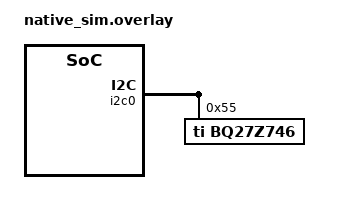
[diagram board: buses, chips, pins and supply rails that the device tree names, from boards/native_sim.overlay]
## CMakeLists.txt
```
# SPDX-License-Identifier: Apache-2.0

cmake_minimum_required(VERSION 3.28.0)
find_package(Zephyr REQUIRED HINTS $ENV{ZEPHYR_BASE})
project(device)

FILE(GLOB app_sources src/test_bq27z746.c)
target_sources(app PRIVATE ${app_sources})
```

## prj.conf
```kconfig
CONFIG_ZTEST=y
CONFIG_ZTEST_NEW_API=y
CONFIG_I2C=y
CONFIG_TEST_USERSPACE=y
CONFIG_LOG=y

CONFIG_FUEL_GAUGE=y
```

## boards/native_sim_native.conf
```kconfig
# SPDX-License-Identifier: Apache-2.0

CONFIG_EMUL=y
```

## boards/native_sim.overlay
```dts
/*
 * SPDX-License-Identifier: Apache-2.0
 */

&i2c0 {
	bq27z746: bq27z746@55 {
		compatible = "ti,bq27z746";
		reg = <0x55>;
		status = "okay";
	};
};
```

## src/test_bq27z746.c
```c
/*
 * Copyright (c) 2023, ithinx GmbH
 * Copyright (c) 2023, Tonies GmbH
 *
 * SPDX-License-Identifier: Apache-2.0
 */

#include <zephyr/device.h>
#include <zephyr/drivers/fuel_gauge.h>
#include <zephyr/drivers/i2c.h>
#include <zephyr/logging/log.h>
#include <zephyr/sys/byteorder.h>
#include <zephyr/sys/util.h>
#include <zephyr/ztest.h>
#include <zephyr/ztest_assert.h>

struct bq27z746_fixture {
	const struct device *dev;
	const struct fuel_gauge_driver_api *api;
};

static void *bq27z746_setup(void)
{
	static ZTEST_DMEM struct bq27z746_fixture fixture;

	fixture.dev = DEVICE_DT_GET_ANY(ti_bq27z746);
	k_object_access_all_grant(fixture.dev);

	zassert_true(device_is_ready(fixture.dev), "Fuel Gauge not found");

	return &fixture;
}

ZTEST_USER_F(bq27z746, test_get_some_props_failed_returns_bad_status)
{
	fuel_gauge_prop_t props[] = {
		/* First invalid property */
		FUEL_GAUGE_PROP_MAX,
		/* Second invalid property */
		FUEL_GAUGE_PROP_MAX,
		/* Valid property */
		FUEL_GAUGE_VOLTAGE_UV,
	};
	union fuel_gauge_prop_val vals[ARRAY_SIZE(props)];

	int ret = fuel_gauge_get_props(fixture->dev, props, vals, ARRAY_SIZE(props));

	zassert_equal(ret, -ENOTSUP, "Getting bad property has a good status.");
}

ZTEST_USER_F(bq27z746, test_get_buffer_prop)
{
	int ret;

	{
		struct sbs_gauge_manufacturer_name mfg_name;

		ret = fuel_gauge_get_buffer_prop(fixture->dev, FUEL_GAUGE_MANUFACTURER_NAME,
						 &mfg_name, sizeof(mfg_name));
		zassert_ok(ret);
#if CONFIG_EMUL
		/* Only test for fixed values in emulation since the real device might be */
		/* reprogrammed and respond with different values */
		zassert_equal(sizeof("Texas Instruments") - 1, mfg_name.manufacturer_name_length);
		zassert_mem_equal(mfg_name.manufacturer_name, "Texas Instruments",
				  mfg_name.manufacturer_name_length,
				  "mfg_name.manufacturer_name='%s'", mfg_name.manufacturer_name);
#endif
	}
	{
		struct sbs_gauge_device_name dev_name;

		ret = fuel_gauge_get_buffer_prop(fixture->dev, FUEL_GAUGE_DEVICE_NAME, &dev_name,
						 sizeof(dev_name));
		zassert_ok(ret);
#if CONFIG_EMUL
		/* Only test for fixed values in emulation since the real device might be */
		/* reprogrammed and respond with different values */
		zassert_equal(sizeof("BQ27Z746") - 1, dev_name.device_name_length);
		zassert_mem_equal(dev_name.device_name, "BQ27Z746", dev_name.device_name_length);
#endif
	}
	{
		struct sbs_gauge_device_chemistry device_chemistry;

		ret = fuel_gauge_get_buffer_prop(fixture->dev, FUEL_GAUGE_DEVICE_CHEMISTRY,
						 &device_chemistry, sizeof(device_chemistry));
		zassert_ok(ret);
#if CONFIG_EMUL
		/* Only test for fixed values in emulation since the real device might be */
		/* reprogrammed and respond with different values */
		zassert_equal(sizeof("LION") - 1, device_chemistry.device_chemistry_length);
		zassert_mem_equal(device_chemistry.device_chemistry, "LION",
				  device_chemistry.device_chemistry_length);
#endif
	}
}

ZTEST_USER_F(bq27z746, test_get_props__returns_ok)
{
	/* Validate what props are supported by the driver */

	fuel_gauge_prop_t props[] = {
		FUEL_GAUGE_AVG_CURRENT_UA,
		FUEL_GAUGE_CYCLE_COUNT,
		FUEL_GAUGE_CURRENT_UA,
		FUEL_GAUGE_FULL_CHARGE_CAPACITY,
		FUEL_GAUGE_REMAINING_CAPACITY,
		FUEL_GAUGE_RUNTIME_TO_EMPTY_MINS,
		FUEL_GAUGE_RUNTIME_TO_FULL_MINS,
		FUEL_GAUGE_SBS_MFR_ACCESS,
		FUEL_GAUGE_RELATIVE_STATE_OF_CHARGE_PCT,
		FUEL_GAUGE_TEMPERATURE_DK,
		FUEL_GAUGE_VOLTAGE_UV,
		FUEL_GAUGE_SBS_ATRATE,
		FUEL_GAUGE_SBS_ATRATE_TIME_TO_EMPTY_MINS,
		FUEL_GAUGE_CHARGE_VOLTAGE_UV,
		FUEL_GAUGE_CHARGE_CURRENT_UA,
		FUEL_GAUGE_STATUS,
		FUEL_GAUGE_DESIGN_CAPACITY,
		FUEL_GAUGE_STATE_OF_HEALTH,
	};
	union fuel_gauge_prop_val vals[ARRAY_SIZE(props)];

	zassert_ok(fuel_gauge_get_props(fixture->dev, props, vals, ARRAY_SIZE(props)));

	/* Check properties for valid ranges */
#if CONFIG_EMUL
	/* When emulating, check for the fixed values coming from the emulator */
	zassert_equal(vals[0].avg_current_ua, -2000);
	zassert_equal(vals[1].cycle_count, 1);
	zassert_equal(vals[2].current_ua, -2000);
	zassert_equal(vals[3].full_charge_capacity, 1000);
	zassert_equal(vals[4].remaining_capacity, 1000);
	zassert_equal(vals[5].runtime_to_empty_mins, 1);
	zassert_equal(vals[6].runtime_to_full_mins, 1);
	zassert_equal(vals[7].sbs_mfr_access_word, 1);
	zassert_equal(vals[8].relative_state_of_charge_pct, 1);
	zassert_equal(vals[9].temperature_dk, 1);
	zassert_equal(vals[10].voltage_uv, 1000);
	zassert_equal(vals[11].sbs_at_rate, -2);
	zassert_equal(vals[12].sbs_at_rate_time_to_empty_mins, 1);
	zassert_equal(vals[13].chg_voltage_uv, 1000);
	zassert_equal(vals[14].chg_current_ua, 1000);
	zassert_equal(vals[15].fg_status, 1);
	zassert_equal(vals[16].design_cap, 1);
	zassert_equal(vals[17].state_of_health, 1);
#else
	/* When having a real device, check for the valid ranges */
	zassert_between_inclusive(vals[0].avg_current_ua, INT16_MIN * 1000, INT16_MAX * 1000);
	zassert_between_inclusive(vals[1].cycle_count, 0, UINT16_MAX);
	zassert_between_inclusive(vals[2].current_ua, INT16_MIN * 1000, INT16_MAX * 1000);
	zassert_between_inclusive(vals[3].full_charge_capacity, 0, INT16_MAX * 1000);
	zassert_between_inclusive(vals[4].remaining_capacity, 0, INT16_MAX * 1000);
	zassert_between_inclusive(vals[5].runtime_to_empty_mins, 0, UINT16_MAX);
	zassert_between_inclusive(vals[6].runtime_to_full_mins, 0, UINT16_MAX);
	/* Not testing props[7]. This is the manufacturer access and has only status bits */
	zassert_between_inclusive(vals[8].relative_state_of_charge_pct, 0, 100);
	zassert_between_inclusive(vals[9].temperature_dk, 0, INT16_MAX);
	zassert_between_inclusive(vals[10].voltage_uv, 0, INT16_MAX * 1000);
	zassert_between_inclusive(vals[11].sbs_at_rate, INT16_MIN, INT16_MAX);
	zassert_between_inclusive(vals[12].sbs_at_rate_time_to_empty_mins, 0, UINT16_MAX);
	zassert_between_inclusive(vals[13].chg_voltage_uv, 0, INT16_MAX);
	zassert_between_inclusive(vals[14].chg_current_ua, 0, INT16_MAX);
	/* Not testing props[15]. This property is the status and only has only status bits */
	zassert_between_inclusive(vals[16].design_cap, 0, INT16_MAX);
	zassert_between_inclusive(vals[17].state_of_health, 0, 100);
#endif
}

ZTEST_SUITE(bq27z746, NULL, bq27z746_setup, NULL, NULL, NULL);
```
